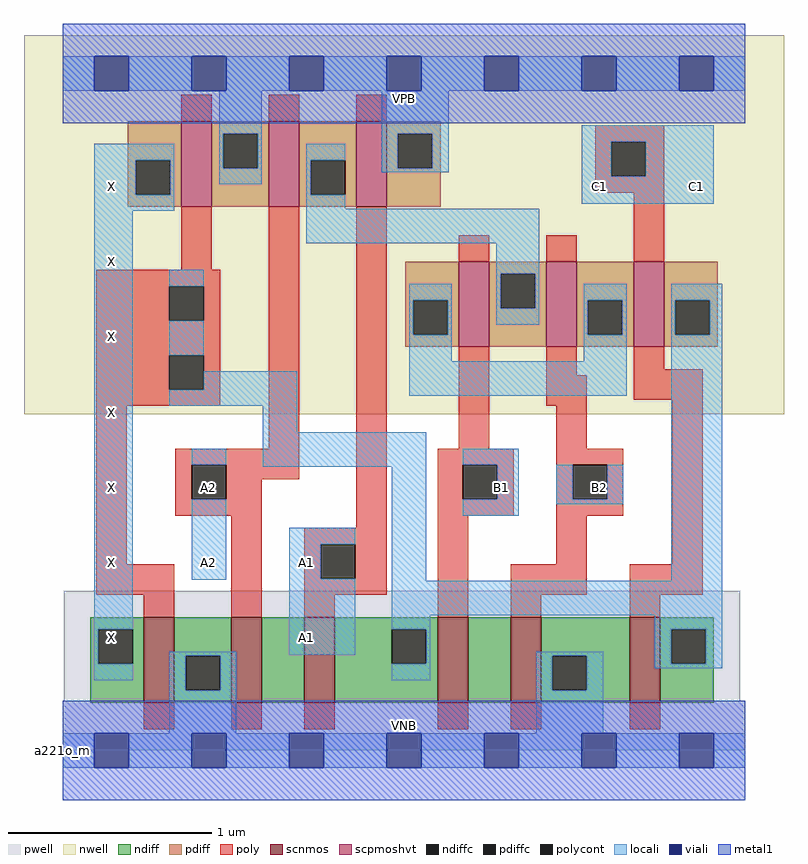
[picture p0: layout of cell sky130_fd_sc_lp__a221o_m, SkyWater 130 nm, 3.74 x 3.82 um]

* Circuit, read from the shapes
.subckt sky130_fd_sc_lp__a221o_m A1 A2 B1 B2 C1 VGND VNB VPB VPWR X
XM1 VGND n1 X VNB sky130_fd_pr__nfet_01v8 w=0.42 l=0.15
XM2 n2 A2 VGND VNB sky130_fd_pr__nfet_01v8 w=0.42 l=0.15
XM3 n1 A1 n2 VNB sky130_fd_pr__nfet_01v8 w=0.42 l=0.15
XM4 n3 B1 n1 VNB sky130_fd_pr__nfet_01v8 w=0.42 l=0.15
XM5 VGND B2 n3 VNB sky130_fd_pr__nfet_01v8 w=0.42 l=0.15
XM6 n1 C1 VGND VNB sky130_fd_pr__nfet_01v8 w=0.42 l=0.15
XM7 VPWR n1 X VPB sky130_fd_pr__pfet_01v8_hvt w=0.42 l=0.15
XM8 n4 A2 VPWR VPB sky130_fd_pr__pfet_01v8_hvt w=0.42 l=0.15
XM9 VPWR A1 n4 VPB sky130_fd_pr__pfet_01v8_hvt w=0.42 l=0.15
XM10 n4 B1 n5 VPB sky130_fd_pr__pfet_01v8_hvt w=0.42 l=0.15
XM11 n5 B2 n4 VPB sky130_fd_pr__pfet_01v8_hvt w=0.42 l=0.15
XM12 n1 C1 n5 VPB sky130_fd_pr__pfet_01v8_hvt w=0.42 l=0.15
.ends

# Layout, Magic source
magic
tech sky130A
magscale 1 2
<< nwell >>
rect -38 331 710 704
<< pwell >>
rect 1 49 667 157
rect 0 0 672 49
<< scnmos >>
rect 80 47 110 131
rect 166 47 196 131
rect 238 47 268 131
rect 369 47 399 131
rect 441 47 471 131
rect 558 47 588 131
<< scpmoshvt >>
rect 117 535 147 619
rect 203 535 233 619
rect 289 535 319 619
rect 390 397 420 481
rect 476 397 506 481
rect 562 397 592 481
<< ndiff >>
rect 27 119 80 131
rect 27 85 35 119
rect 69 85 80 119
rect 27 47 80 85
rect 110 93 166 131
rect 110 59 121 93
rect 155 59 166 93
rect 110 47 166 59
rect 196 47 238 131
rect 268 119 369 131
rect 268 85 324 119
rect 358 85 369 119
rect 268 47 369 85
rect 399 47 441 131
rect 471 93 558 131
rect 471 59 482 93
rect 516 59 558 93
rect 471 47 558 59
rect 588 119 641 131
rect 588 85 599 119
rect 633 85 641 119
rect 588 47 641 85
<< pdiff >>
rect 64 581 117 619
rect 64 547 72 581
rect 106 547 117 581
rect 64 535 117 547
rect 147 607 203 619
rect 147 573 158 607
rect 192 573 203 607
rect 147 535 203 573
rect 233 581 289 619
rect 233 547 244 581
rect 278 547 289 581
rect 233 535 289 547
rect 319 607 372 619
rect 319 573 330 607
rect 364 573 372 607
rect 319 535 372 573
rect 337 443 390 481
rect 337 409 345 443
rect 379 409 390 443
rect 337 397 390 409
rect 420 469 476 481
rect 420 435 431 469
rect 465 435 476 469
rect 420 397 476 435
rect 506 443 562 481
rect 506 409 517 443
rect 551 409 562 443
rect 506 397 562 409
rect 592 443 645 481
rect 592 409 603 443
rect 637 409 645 443
rect 592 397 645 409
<< ndiffc >>
rect 35 85 69 119
rect 121 59 155 93
rect 324 85 358 119
rect 482 59 516 93
rect 599 85 633 119
<< pdiffc >>
rect 72 547 106 581
rect 158 573 192 607
rect 244 547 278 581
rect 330 573 364 607
rect 345 409 379 443
rect 431 435 465 469
rect 517 409 551 443
rect 603 409 637 443
<< poly >>
rect 117 619 147 645
rect 203 619 233 645
rect 289 619 319 645
rect 524 599 592 615
rect 524 565 540 599
rect 574 565 592 599
rect 524 549 592 565
rect 117 473 147 535
rect 33 457 155 473
rect 33 423 105 457
rect 139 423 155 457
rect 33 389 155 423
rect 33 355 105 389
rect 139 355 155 389
rect 33 339 155 355
rect 33 183 63 339
rect 203 297 233 535
rect 111 281 233 297
rect 111 247 127 281
rect 161 267 233 281
rect 161 247 196 267
rect 111 231 196 247
rect 33 153 110 183
rect 80 131 110 153
rect 166 131 196 231
rect 289 219 319 535
rect 390 481 420 507
rect 476 481 506 507
rect 562 481 592 549
rect 390 297 420 397
rect 476 369 506 397
rect 562 375 592 397
rect 476 339 516 369
rect 562 345 630 375
rect 486 297 516 339
rect 238 203 319 219
rect 238 169 254 203
rect 288 169 319 203
rect 238 153 319 169
rect 369 281 444 297
rect 369 247 394 281
rect 428 247 444 281
rect 369 231 444 247
rect 486 281 552 297
rect 486 247 502 281
rect 536 247 552 281
rect 486 231 552 247
rect 238 131 268 153
rect 369 131 399 231
rect 486 183 516 231
rect 600 183 630 345
rect 441 153 516 183
rect 558 153 630 183
rect 441 131 471 153
rect 558 131 588 153
rect 80 21 110 47
rect 166 21 196 47
rect 238 21 268 47
rect 369 21 399 47
rect 441 21 471 47
rect 558 21 588 47
<< polycont >>
rect 540 565 574 599
rect 105 423 139 457
rect 105 355 139 389
rect 127 247 161 281
rect 254 169 288 203
rect 394 247 428 281
rect 502 247 536 281
<< locali >>
rect 0 649 31 683
rect 65 649 127 683
rect 161 649 223 683
rect 257 649 319 683
rect 353 649 415 683
rect 449 649 511 683
rect 545 649 607 683
rect 641 649 672 683
rect 154 607 196 649
rect 31 581 110 597
rect 31 547 72 581
rect 106 547 110 581
rect 154 573 158 607
rect 192 573 196 607
rect 314 607 380 649
rect 154 557 196 573
rect 240 581 278 597
rect 31 531 110 547
rect 240 547 244 581
rect 314 573 330 607
rect 364 573 380 607
rect 314 569 380 573
rect 511 599 641 615
rect 240 533 278 547
rect 511 565 540 599
rect 574 565 641 599
rect 511 538 641 565
rect 31 119 69 531
rect 240 499 469 533
rect 105 457 139 473
rect 427 469 469 499
rect 105 389 139 423
rect 341 443 383 459
rect 341 409 345 443
rect 379 409 383 443
rect 427 435 431 469
rect 465 435 469 469
rect 427 419 469 435
rect 513 443 555 459
rect 341 383 383 409
rect 513 409 517 443
rect 551 409 555 443
rect 513 383 555 409
rect 139 355 231 373
rect 105 339 231 355
rect 341 349 555 383
rect 599 443 649 459
rect 599 409 603 443
rect 637 409 649 443
rect 197 313 231 339
rect 127 281 161 297
rect 197 279 358 313
rect 127 168 161 247
rect 223 203 288 219
rect 223 169 254 203
rect 31 85 35 119
rect 31 69 69 85
rect 105 93 171 97
rect 223 94 288 169
rect 324 167 358 279
rect 394 281 449 297
rect 428 247 449 281
rect 394 231 449 247
rect 486 247 502 281
rect 536 247 552 281
rect 486 242 552 247
rect 599 167 649 409
rect 324 133 649 167
rect 324 119 362 133
rect 105 59 121 93
rect 155 59 171 93
rect 358 85 362 119
rect 583 119 649 133
rect 324 69 362 85
rect 466 93 532 97
rect 105 17 171 59
rect 466 59 482 93
rect 516 59 532 93
rect 583 85 599 119
rect 633 85 649 119
rect 583 81 649 85
rect 466 17 532 59
rect 0 -17 31 17
rect 65 -17 127 17
rect 161 -17 223 17
rect 257 -17 319 17
rect 353 -17 415 17
rect 449 -17 511 17
rect 545 -17 607 17
rect 641 -17 672 17
<< viali >>
rect 31 649 65 683
rect 127 649 161 683
rect 223 649 257 683
rect 319 649 353 683
rect 415 649 449 683
rect 511 649 545 683
rect 607 649 641 683
rect 31 -17 65 17
rect 127 -17 161 17
rect 223 -17 257 17
rect 319 -17 353 17
rect 415 -17 449 17
rect 511 -17 545 17
rect 607 -17 641 17
<< metal1 >>
rect 0 683 672 715
rect 0 649 31 683
rect 65 649 127 683
rect 161 649 223 683
rect 257 649 319 683
rect 353 649 415 683
rect 449 649 511 683
rect 545 649 607 683
rect 641 649 672 683
rect 0 617 672 649
rect 0 17 672 49
rect 0 -17 31 17
rect 65 -17 127 17
rect 161 -17 223 17
rect 257 -17 319 17
rect 353 -17 415 17
rect 449 -17 511 17
rect 545 -17 607 17
rect 641 -17 672 17
rect 0 -49 672 -17
<< labels >>
flabel pwell s 0 0 672 49 0 FreeSans 200 0 0 0 VNB
port 7 nsew ground bidirectional
flabel nwell s 0 617 672 666 0 FreeSans 200 0 0 0 VPB
port 8 nsew power bidirectional
rlabel comment s 0 0 0 0 4 a221o_m
flabel metal1 s 0 617 672 666 0 FreeSans 340 0 0 0 VPWR
port 9 nsew power bidirectional
flabel metal1 s 0 0 672 49 0 FreeSans 340 0 0 0 VGND
port 6 nsew ground bidirectional
flabel locali s 223 94 257 128 0 FreeSans 340 0 0 0 A1
port 1 nsew signal input
flabel locali s 223 168 257 202 0 FreeSans 340 0 0 0 A1
port 1 nsew signal input
flabel locali s 127 168 161 202 0 FreeSans 340 0 0 0 A2
port 2 nsew signal input
flabel locali s 127 242 161 276 0 FreeSans 340 0 0 0 A2
port 2 nsew signal input
flabel locali s 415 242 449 276 0 FreeSans 340 0 0 0 B1
port 3 nsew signal input
flabel locali s 511 242 545 276 0 FreeSans 340 0 0 0 B2
port 4 nsew signal input
flabel locali s 511 538 545 572 0 FreeSans 340 0 0 0 C1
port 5 nsew signal input
flabel locali s 607 538 641 572 0 FreeSans 340 0 0 0 C1
port 5 nsew signal input
flabel locali s 31 94 65 128 0 FreeSans 340 0 0 0 X
port 10 nsew signal output
flabel locali s 31 168 65 202 0 FreeSans 340 0 0 0 X
port 10 nsew signal output
flabel locali s 31 242 65 276 0 FreeSans 340 0 0 0 X
port 10 nsew signal output
flabel locali s 31 316 65 350 0 FreeSans 340 0 0 0 X
port 10 nsew signal output
flabel locali s 31 390 65 424 0 FreeSans 340 0 0 0 X
port 10 nsew signal output
flabel locali s 31 464 65 498 0 FreeSans 340 0 0 0 X
port 10 nsew signal output
flabel locali s 31 538 65 572 0 FreeSans 340 0 0 0 X
port 10 nsew signal output
<< properties >>
string LEFsite unit
string LEFclass CORE
string FIXED_BBOX 0 0 672 666
string GDS_FILE $PDKPATH/libs.ref/sky130_fd_sc_lp/gds/sky130_fd_sc_lp.gds
string LEFsymmetry X Y R90
string GDS_END 6103598
string GDS_START 6096062
<< end >>
